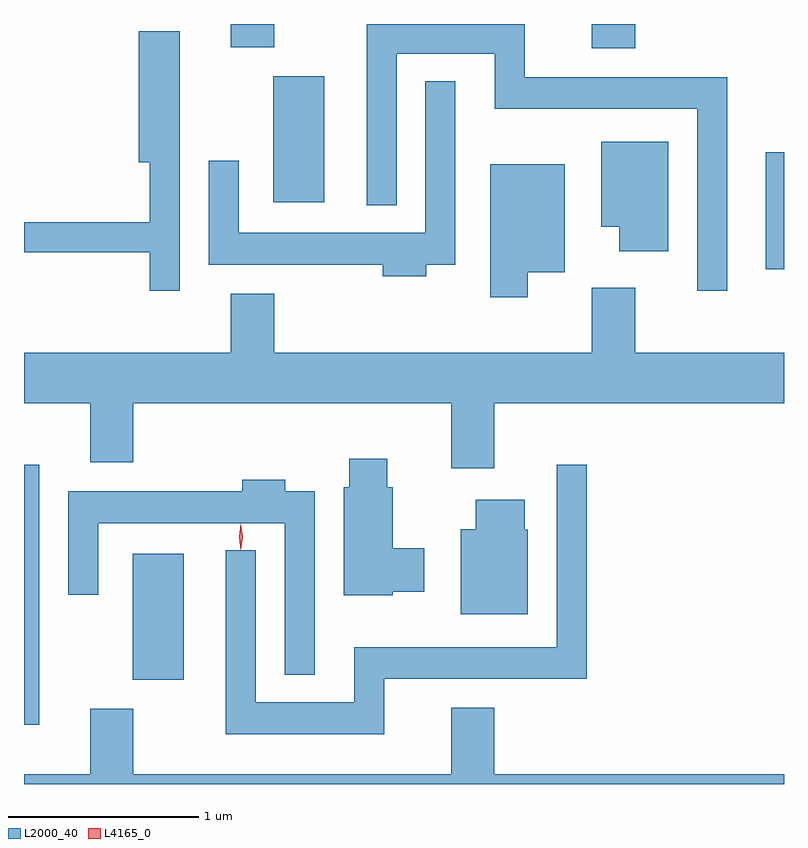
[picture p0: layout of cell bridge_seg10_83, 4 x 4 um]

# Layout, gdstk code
import gdstk
lib = gdstk.Library(unit=1e-6, precision=1e-09)
def R(c, l, rs):  # rectangles x0, y0, x1, y1
    for r in rs: c.add(gdstk.rectangle(r[:2], r[2:], *l))
def P(c, l, *ps):  # polygons
    for p in ps: c.add(gdstk.Polygon(p, *l))
L2000_40 = (2000, 40)
L4165_0 = (4165, 0)

bridge_seg10_83 = lib.new_cell('bridge_seg10_83')
R(bridge_seg10_83, L2000_40, [(1587.023,2181.046,1587.104,2182.413), (1587.596,2181.281,1587.864,2181.944), (1590.926,2183.441,1591.023,2184.059), (1588.336,2183.796,1588.604,2184.459), (1590.011,2184.606,1590.239,2184.733), (1588.111,2184.611,1588.339,2184.733)])
P(bridge_seg10_83, L2000_40, [(1590.724,2184.454),(1589.659,2184.454),(1589.659,2184.733),(1588.826,2184.733),(1588.826,2183.778),(1588.984,2183.778),(1588.984,2184.576),(1589.501,2184.576),(1589.501,2184.286),(1590.566,2184.286),(1590.566,2183.328),(1590.724,2183.328)],
  [(1587.844,2184.694),(1587.626,2184.694),(1587.626,2184.006),(1587.686,2184.006),(1587.686,2183.689),(1587.023,2183.689),(1587.023,2183.531),(1587.686,2183.531),(1587.686,2183.328),(1587.844,2183.328)],
  [(1589.139,2183.466),(1589.294,2183.466),(1589.294,2184.433),(1589.136,2184.433),(1589.136,2183.634),(1588.154,2183.634),(1588.154,2184.013),(1587.996,2184.013),(1587.996,2183.466),(1588.911,2183.466),(1588.911,2183.406),(1589.139,2183.406)],
  [(1590.414,2184.114),(1590.061,2184.114),(1590.061,2183.666),(1590.156,2183.666),(1590.156,2183.536),(1590.414,2183.536)],
  [(1589.674,2183.426),(1589.869,2183.426),(1589.869,2183.994),(1589.476,2183.994),(1589.476,2183.296),(1589.674,2183.296)],
  [(1589.499,2182.736),(1591.023,2182.736),(1591.023,2183.004),(1590.239,2183.004),(1590.239,2183.344),(1590.011,2183.344),(1590.011,2183.004),(1588.339,2183.004),(1588.339,2183.314),(1588.111,2183.314),(1588.111,2183.004),(1587.023,2183.004),(1587.023,2182.736),(1587.371,2182.736),(1587.371,2182.426),(1587.599,2182.426),(1587.599,2182.736),(1589.271,2182.736),(1589.271,2182.396),(1589.499,2182.396)],
  [(1588.964,2181.746),(1589.129,2181.746),(1589.129,2181.974),(1588.964,2181.974),(1588.964,2182.294),(1588.934,2182.294),(1588.934,2182.444),(1588.736,2182.444),(1588.736,2182.294),(1588.706,2182.294),(1588.706,2181.726),(1588.964,2181.726)],
  [(1588.919,2181.286),(1589.984,2181.286),(1589.984,2182.413),(1589.826,2182.413),(1589.826,2181.454),(1588.761,2181.454),(1588.761,2181.164),(1588.244,2181.164),(1588.244,2181.963),(1588.086,2181.963),(1588.086,2180.996),(1588.919,2180.996)],
  [(1588.554,2182.274),(1588.399,2182.274),(1588.399,2182.334),(1588.171,2182.334),(1588.171,2182.274),(1587.256,2182.274),(1587.256,2181.728),(1587.414,2181.728),(1587.414,2182.106),(1588.396,2182.106),(1588.396,2181.308),(1588.554,2181.308)],
  [(1589.674,2182.07),(1589.659,2182.07),(1589.659,2182.229),(1589.401,2182.229),(1589.401,2182.074),(1589.321,2182.074),(1589.321,2181.626),(1589.674,2181.626)],
  [(1591.023,2180.784),(1589.499,2180.784),(1589.499,2181.134),(1589.271,2181.134),(1589.271,2180.784),(1587.599,2180.784),(1587.599,2181.129),(1587.371,2181.129),(1587.371,2180.784),(1587.023,2180.784),(1587.023,2180.733),(1591.023,2180.733)])
P(bridge_seg10_83, L4165_0, [(1588.164,2181.964),(1588.155,2182.033),(1588.164,2182.102),(1588.165,2182.103),(1588.165,2182.102),(1588.175,2182.033),(1588.165,2181.964),(1588.165,2181.964)],
  [(1588.165,2181.967),(1588.164,2181.968),(1588.155,2182.034),(1588.164,2182.1),(1588.165,2182.1),(1588.165,2182.1),(1588.175,2182.034),(1588.165,2181.968)])

lib.write_gds('bridge_seg10_83.gds')
